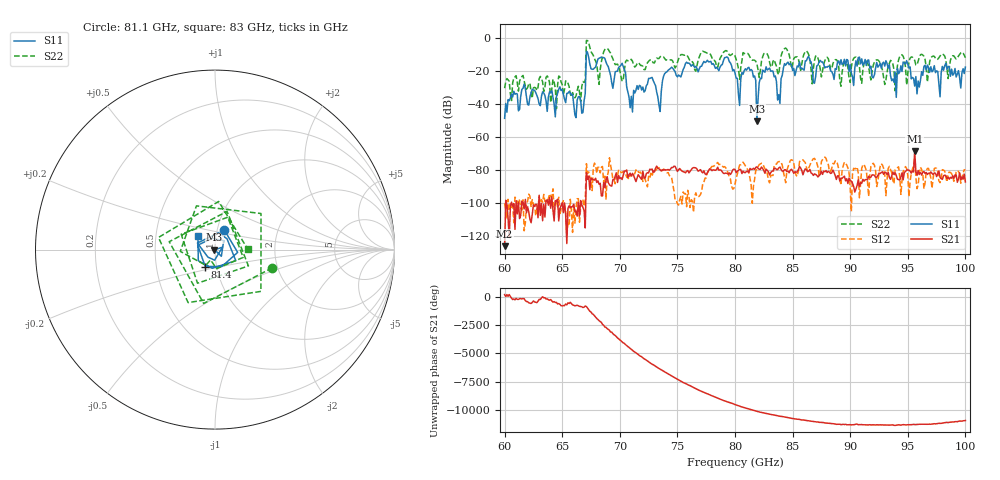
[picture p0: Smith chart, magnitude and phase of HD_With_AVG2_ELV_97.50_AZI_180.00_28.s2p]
! 11/25/2026 10:23:52 AM
! C:\ANRITSUVNA\TEMP\TEMP.S2P
! CHANNEL.1
! TR.MEASUREMENT
! RAW.DATA
# HZ S RI R 50.0
! FREQ.HZ  S11RE  S11IM  S21RE  S21IM  S12RE  S12IM  S22RE  S22IM
!; PortSelection: Port_12
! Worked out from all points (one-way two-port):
!   401 points, 60 GHz to 100 GHz, reference 50 ohm
!   highest |S21| = -68.62 dB at 95.6 GHz (marker M1); lowest = -126.0 dB at 60 GHz (marker M2)
!   lowest |S11| = -50.6 dB at 81.9 GHz (marker M3), VSWR 1.01, Z = 49.7 + j0.0118 ohm
!   |S11| at or under -10 dB: start of sweep to 67.09 GHz; 67.24 GHz to end of sweep
!   |S22| runs from -42.9 to -1.7 dB; largest |S21 - S12| = 0.00058
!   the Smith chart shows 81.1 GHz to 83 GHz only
!   S11 on the Smith chart (normalised r, x): 81.1 GHz: 1.08, +0.24; 81.4 GHz: 0.88, -0.17; 83 GHz: 0.82, +0.12
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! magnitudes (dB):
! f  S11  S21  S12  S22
! 60 GHz  -48.8  -126.0  -100.1  -30.5
! 61.6 GHz  -30.6  -99.5  -98.0  -22.8
! 66.7 GHz  -45.7  -101.1  -98.1  -29.5
! 67.3 GHz  -12.1  -83.8  -81.2  -3.1
! 68.4 GHz  -11.8  -95.6  -78.4  -14.7
! 68.9 GHz  -16.5  -83.9  -84.3  -6.5
! 70.3 GHz  -17.5  -83.1  -80.8  -25.5
! 70.9 GHz  -42.3  -81.9  -82.7  -13.5
! 72.7 GHz  -24.3  -79.8  -81.9  -13.3
! 73.4 GHz  -40.8  -79.3  -78.5  -12.6
! 74.4 GHz  -18.6  -79.4  -83.7  -13.4
! 80 GHz  -21.3  -79.7  -88.5  -11.0
! 81.1 GHz  -18.4  -80.8  -79.7  -9.5
! 81.4 GHz  -19.3  -79.6  -89.1  -13.0
! 81.9 GHz  -50.6  -78.1  -79.3  -15.7
! 83 GHz  -18.4  -83.0  -87.7  -14.8
! 83.8 GHz  -34.4  -78.8  -74.9  -22.4
! 84.4 GHz  -16.7  -79.9  -87.6  -6.3
! 86.7 GHz  -17.5  -82.2  -74.2  -27.9
! 93.4 GHz  -16.3  -84.5  -77.8  -15.6
! 95.6 GHz  -29.2  -68.6  -73.4  -13.7
! 100 GHz  -17.8  -87.2  -80.1  -12.1
